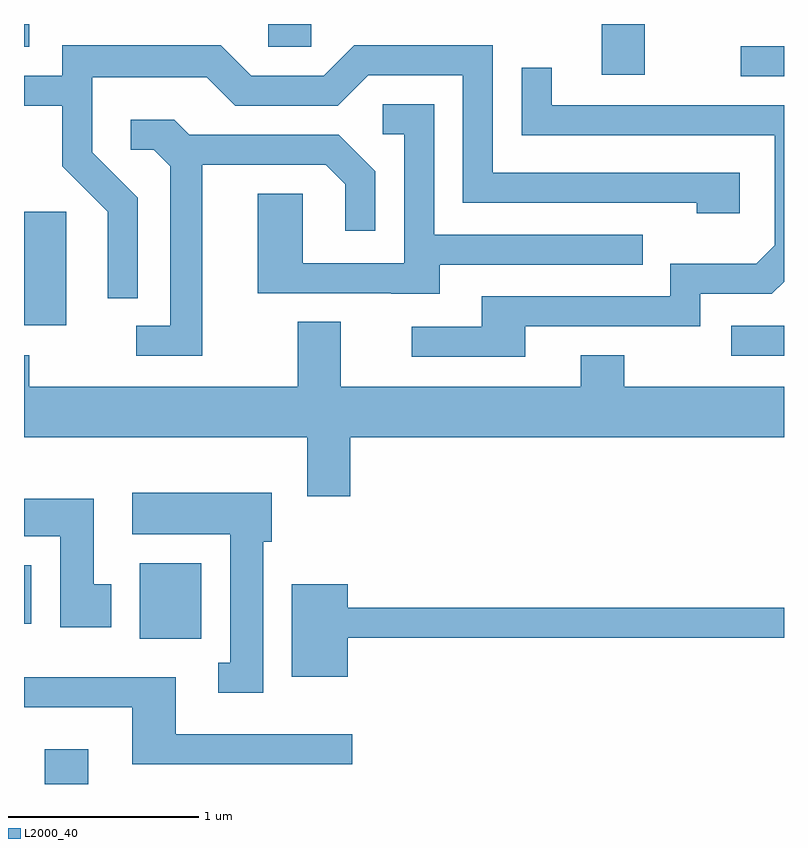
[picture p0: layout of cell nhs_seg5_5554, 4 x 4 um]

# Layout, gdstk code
import gdstk
lib = gdstk.Library(unit=1e-6, precision=1e-09)
def R(c, l, rs):  # rectangles x0, y0, x1, y1
    for r in rs: c.add(gdstk.rectangle(r[:2], r[2:], *l))
def P(c, l, *ps):  # polygons
    for p in ps: c.add(gdstk.Polygon(p, *l))
L2000_40 = (2000, 40)

nhs_seg5_5554 = lib.new_cell('nhs_seg5_5554')
R(nhs_seg5_5554, L2000_40, [(349.721,1466.072,349.949,1466.254), (350.221,1466.836,350.544,1467.234), (349.611,1466.916,349.649,1467.224), (353.333,1468.326,353.611,1468.484), (349.611,1468.486,349.834,1469.084), (353.383,1469.796,353.611,1469.954), (352.651,1469.806,352.879,1470.072), (349.611,1469.951,349.639,1470.072), (350.896,1469.951,351.124,1470.072)])
P(nhs_seg5_5554, L2000_40, [(350.209,1469.157),(349.969,1469.397),(349.969,1469.791),(350.574,1469.791),(350.724,1469.641),(351.262,1469.641),(351.422,1469.801),(351.921,1469.801),(351.921,1469.131),(353.151,1469.131),(353.151,1469.076),(353.379,1469.076),(353.379,1469.289),(352.079,1469.289),(352.079,1469.959),(351.349,1469.959),(351.189,1469.799),(350.807,1469.799),(350.647,1469.959),(349.811,1469.959),(349.811,1469.799),(349.611,1469.799),(349.611,1469.641),(349.811,1469.641),(349.811,1469.324),(350.051,1469.084),(350.051,1468.628),(350.209,1468.628)],
  [(352.249,1468.481),(353.169,1468.481),(353.169,1468.651),(353.547,1468.651),(353.611,1468.715),(353.611,1469.644),(352.389,1469.644),(352.389,1469.843),(352.231,1469.843),(352.231,1469.486),(353.561,1469.486),(353.561,1468.907),(353.464,1468.809),(353.011,1468.809),(353.011,1468.639),(352.021,1468.639),(352.021,1468.479),(351.653,1468.479),(351.653,1468.321),(352.249,1468.321)],
  [(351.799,1468.806),(352.868,1468.806),(352.868,1468.964),(351.769,1468.964),(351.769,1469.649),(351.498,1469.649),(351.498,1469.491),(351.611,1469.491),(351.611,1468.814),(351.079,1468.814),(351.079,1469.179),(350.841,1469.179),(350.841,1468.656),(351.545,1468.656),(351.545,1468.651),(351.799,1468.651)],
  [(350.549,1469.331),(351.199,1469.331),(351.301,1469.229),(351.301,1468.983),(351.459,1468.983),(351.459,1469.297),(351.267,1469.489),(350.482,1469.489),(350.402,1469.569),(350.173,1469.569),(350.173,1469.411),(350.294,1469.411),(350.381,1469.324),(350.381,1468.484),(350.203,1468.484),(350.203,1468.326),(350.549,1468.326)],
  [(351.329,1467.896),(353.611,1467.896),(353.611,1468.164),(352.769,1468.164),(352.769,1468.329),(352.541,1468.329),(352.541,1468.164),(351.279,1468.164),(351.279,1468.504),(351.051,1468.504),(351.051,1468.164),(349.639,1468.164),(349.639,1468.329),(349.611,1468.329),(349.611,1467.896),(351.101,1467.896),(351.101,1467.586),(351.329,1467.586)],
  [(350.869,1467.346),(350.914,1467.346),(350.914,1467.604),(350.181,1467.604),(350.181,1467.386),(350.696,1467.386),(350.696,1466.709),(350.633,1466.709),(350.633,1466.551),(350.869,1466.551)],
  [(350.069,1467.124),(349.979,1467.124),(349.979,1467.574),(349.611,1467.574),(349.611,1467.376),(349.801,1467.376),(349.801,1466.896),(350.069,1466.896)],
  [(351.314,1466.841),(353.611,1466.841),(353.611,1466.999),(351.314,1466.999),(351.314,1467.124),(351.021,1467.124),(351.021,1466.636),(351.314,1466.636)],
  [(351.338,1466.334),(350.409,1466.334),(350.409,1466.634),(349.611,1466.634),(349.611,1466.476),(350.181,1466.476),(350.181,1466.176),(351.338,1466.176)])

lib.write_gds('nhs_seg5_5554.gds')
